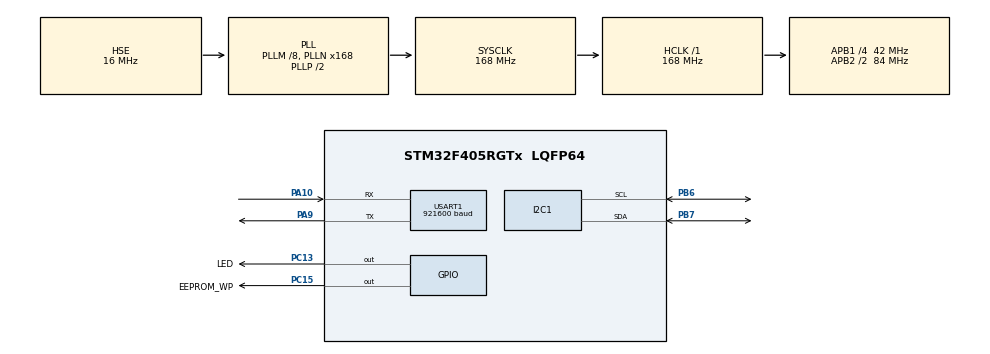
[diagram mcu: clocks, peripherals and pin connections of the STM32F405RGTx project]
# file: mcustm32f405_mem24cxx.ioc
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I2C1.I2C_Mode=I2C_Fast
Mcu.Family=STM32F4
Mcu.Name=STM32F405RGTx
Mcu.Package=LQFP64
NVIC.PriorityGroup=NVIC_PRIORITYGROUP_4
PA10.Mode=Asynchronous
PA10.Signal=USART1_RX
PA13.Mode=Trace_Asynchronous_SW
PA13.Signal=SYS_JTMS-SWDIO
PA14.Mode=Trace_Asynchronous_SW
PA14.Signal=SYS_JTCK-SWCLK
PA9.Mode=Asynchronous
PA9.Signal=USART1_TX
PB3.Mode=Trace_Asynchronous_SW
PB3.Signal=SYS_JTDO-SWO
PB6.Mode=I2C
PB6.Signal=I2C1_SCL
PB7.Mode=I2C
PB7.Signal=I2C1_SDA
PC13-ANTI_TAMP.GPIO_Label=LED
PC13-ANTI_TAMP.GPIO_ModeDefaultOutputPP=GPIO_MODE_OUTPUT_OD
PC13-ANTI_TAMP.GPIO_PuPd=GPIO_NOPULL
PC13-ANTI_TAMP.PinState=GPIO_PIN_SET
PC13-ANTI_TAMP.Signal=GPIO_Output
PC15-OSC32_OUT.GPIO_Label=EEPROM_WP
PC15-OSC32_OUT.PinState=GPIO_PIN_SET
PC15-OSC32_OUT.Signal=GPIO_Output
PH0-OSC_IN.Mode=HSE-External-Oscillator
PH0-OSC_IN.Signal=RCC_OSC_IN
PH1-OSC_OUT.Mode=HSE-External-Oscillator
PH1-OSC_OUT.Signal=RCC_OSC_OUT
ProjectManager.HeapSize=0x200
ProjectManager.StackSize=0x400
ProjectManager.TargetToolchain=STM32CubeIDE
RCC.48MHZClocksFreq_Value=84000000
RCC.AHBFreq_Value=168000000
RCC.APB1CLKDivider=RCC_HCLK_DIV4
RCC.APB1Freq_Value=42000000
RCC.APB1TimFreq_Value=84000000
RCC.APB2CLKDivider=RCC_HCLK_DIV2
RCC.APB2Freq_Value=84000000
RCC.APB2TimFreq_Value=168000000
RCC.CortexFreq_Value=168000000
RCC.HCLKFreq_Value=168000000
RCC.HSE_VALUE=16000000
RCC.HSI_VALUE=16000000
RCC.LSE_VALUE=32768
RCC.PLLM=8
RCC.PLLN=168
RCC.PLLSourceVirtual=RCC_PLLSOURCE_HSE
RCC.SYSCLKFreq_VALUE=168000000
RCC.SYSCLKSource=RCC_SYSCLKSOURCE_PLLCLK
RCC.VCOOutputFreq_Value=336000000
USART1.BaudRate=921600
USART1.VirtualMode=VM_ASYNC
VP_CRC_VS_CRC.Mode=CRC_Activate
board=custom

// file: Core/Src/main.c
/* USER CODE BEGIN Header */
/**
 ******************************************************************************
 * @file           : main.c
 * @brief          : Main program body
 ******************************************************************************
 * @attention
 *
 * Copyright (c) 2024 Lars Boegild Thomsen <lth@stm32world.com>
 * All rights reserved.
 *
 * This software is licensed under terms that can be found in the LICENSE file
 * in the root directory of this software component.
 * If no LICENSE file comes with this software, it is provided AS-IS.
 *
 ******************************************************************************
 */
/* USER CODE END Header */
#include "main.h"

/* USER CODE BEGIN Includes */
#include <string.h>
#include <m24cxx.h>
/* USER CODE END Includes */

CRC_HandleTypeDef hcrc;

I2C_HandleTypeDef hi2c1;

UART_HandleTypeDef huart1;

/* USER CODE BEGIN PV */

M24CXX_HandleTypeDef m24cxx;

uint8_t buf[256];
uint8_t do_action = 0;

/* USER CODE END PV */

void SystemClock_Config(void);
static void MX_GPIO_Init(void);
static void MX_I2C1_Init(void);
static void MX_USART1_UART_Init(void);
static void MX_CRC_Init(void);

/* USER CODE BEGIN 0 */

// Send printf to uart1
int _write(int fd, char *ptr, int len) {
    HAL_StatusTypeDef hstatus;

    if (fd == 1 || fd == 2) {
        hstatus = HAL_UART_Transmit(&huart1, (uint8_t*) ptr, len,
        HAL_MAX_DELAY);
        if (hstatus == HAL_OK)
            return len;
        else
            return -1;
    }
    return -1;
}

/* USER CODE END 0 */

int main(void)
{

  /* MCU Configuration--------------------------------------------------------*/

  /* Reset of all peripherals, Initializes the Flash interface and the Systick. */
  HAL_Init();

  /* Configure the system clock */
  SystemClock_Config();

  /* Initialize all configured peripherals */
  MX_GPIO_Init();
  MX_I2C1_Init();
  MX_USART1_UART_Init();
  MX_CRC_Init();
  /* USER CODE BEGIN 2 */

    DBG("\n\n\n--------\nStarting");

    // Wait a few ms to get ready
    HAL_Delay(10);

    DBG("Scanning I2C bus:");
    // Go through all possible i2c addresses
    for (uint8_t i = 0; i < 128; i++) {

        if (HAL_I2C_IsDeviceReady(&hi2c1, (uint16_t) (i << 1), 3, 100) == HAL_OK) {
            // We got an ack
            printf("%2x ", i);
        } else {
            printf("-- ");
        }

        if (i > 0 && (i + 1) % 16 == 0)
            printf("\n");

    }

    printf("\n");

    DBG("Initializing %s - %u kB EEPROM", M24CXX_TYPE, M24CXX_SIZE / 1024);

    if (m24cxx_init(&m24cxx, &hi2c1, 0x50) != M24CXX_Ok) {
        DBG("M24CXX Failed to initialize");
        Error_Handler();
    }

    uint8_t buf[M24CXX_WRITE_PAGE_SIZE];
    uint32_t crc = 0;
    uint32_t start_time;

    DBG("Erasing all");
    start_time = HAL_GetTick();
    if (m24cxx_erase_all(&m24cxx) != M24CXX_Ok) {
        DBG("Erase all failed");
        Error_Handler();
    }
    DBG("Erase all took - %lu s", (HAL_GetTick() - start_time) / 1000);

    start_time = HAL_GetTick();
    for (int i = 0; i < M24CXX_SIZE / sizeof(buf); ++i) {
        if (m24cxx_read(&m24cxx, i * sizeof(buf), (uint8_t*) &buf, sizeof(buf)) != M24CXX_Ok) {
            DBG("Read Error");
            Error_Handler();
        }
        if (i == 0)
            crc = HAL_CRC_Calculate(&hcrc, (uint32_t*) &buf, sizeof(buf) / 4);
        else
            crc = HAL_CRC_Accumulate(&hcrc, (uint32_t*) &buf, sizeof(buf) / 4);
    }
    DBG("Read all took - %lu s - CRC = 0x%08lx", (HAL_GetTick() - start_time) / 1000, crc);

    memset(buf, 0x00, sizeof(buf));
    DBG("Writing all 0x00");
    start_time = HAL_GetTick();
    for (int i = 0; i < M24CXX_SIZE / sizeof(buf); ++i) {
        if (m24cxx_write(&m24cxx, i * sizeof(buf), (uint8_t*) &buf, sizeof(buf)) != M24CXX_Ok) {
            DBG("Write Error");
            Error_Handler();
        }
        if (i == 0)
            crc = HAL_CRC_Calculate(&hcrc, (uint32_t*) &buf, sizeof(buf) / 4);
        else
            crc = HAL_CRC_Accumulate(&hcrc, (uint32_t*) &buf, sizeof(buf) / 4);
    }
    DBG("Write all took - %lu s - CRC = 0x%08lx", (HAL_GetTick() - start_time) / 1000, crc);

    start_time = HAL_GetTick();
    for (int i = 0; i < M24CXX_SIZE / sizeof(buf); ++i) {
        if (m24cxx_read(&m24cxx, i * sizeof(buf), (uint8_t*) &buf, sizeof(buf)) != M24CXX_Ok) {
            DBG("Read Error");
            Error_Handler();
        }
        if (i == 0)
            crc = HAL_CRC_Calculate(&hcrc, (uint32_t*) &buf, sizeof(buf) / 4);
        else
            crc = HAL_CRC_Accumulate(&hcrc, (uint32_t*) &buf, sizeof(buf) / 4);
    }
    DBG("Read all took - %lu s - CRC = 0x%08lx", (HAL_GetTick() - start_time) / 1000, crc);

    memset(buf, 0x55, sizeof(buf));
    DBG("Writing all 0x55");
    start_time = HAL_GetTick();
    for (int i = 0; i < M24CXX_SIZE / sizeof(buf); ++i) {
        if (m24cxx_write(&m24cxx, i * sizeof(buf), (uint8_t*) &buf, sizeof(buf)) != M24CXX_Ok) {
            DBG("Write Error");
            Error_Handler();
        }
        if (i == 0)
            crc = HAL_CRC_Calculate(&hcrc, (uint32_t*) &buf, sizeof(buf) / 4);
        else
            crc = HAL_CRC_Accumulate(&hcrc, (uint32_t*) &buf, sizeof(buf) / 4);
    }
    DBG("Write all took - %lu s - CRC = 0x%08lx", (HAL_GetTick() - start_time) / 1000, crc);

    start_time = HAL_GetTick();
    for (int i = 0; i < M24CXX_SIZE / sizeof(buf); ++i) {
        if (m24cxx_read(&m24cxx, i * sizeof(buf), (uint8_t*) &buf, sizeof(buf)) != M24CXX_Ok) {
            DBG("Read Error");
            Error_Handler();
        }
        if (i == 0)
            crc = HAL_CRC_Calculate(&hcrc, (uint32_t*) &buf, sizeof(buf) / 4);
        else
            crc = HAL_CRC_Accumulate(&hcrc, (uint32_t*) &buf, sizeof(buf) / 4);
    }
    DBG("Read all took - %lu s - CRC = 0x%08lx", (HAL_GetTick() - start_time) / 1000, crc);

    memset(buf, 0xaa, sizeof(buf));
    DBG("Writing all 0xaa");
    start_time = HAL_GetTick();
    for (int i = 0; i < M24CXX_SIZE / sizeof(buf); ++i) {
        if (m24cxx_write(&m24cxx, i * sizeof(buf), (uint8_t*) &buf, sizeof(buf)) != M24CXX_Ok) {
            DBG("Write Error");
            Error_Handler();
        }
        if (i == 0)
            crc = HAL_CRC_Calculate(&hcrc, (uint32_t*) &buf, sizeof(buf) / 4);
        else
            crc = HAL_CRC_Accumulate(&hcrc, (uint32_t*) &buf, sizeof(buf) / 4);
    }
    DBG("Write all took - %lu s - CRC = 0x%08lx", (HAL_GetTick() - start_time) / 1000, crc);

    start_time = HAL_GetTick();
    for (int i = 0; i < M24CXX_SIZE / sizeof(buf); ++i) {
        if (m24cxx_read(&m24cxx, i * sizeof(buf), (uint8_t*) &buf, sizeof(buf)) != M24CXX_Ok) {
            DBG("Read Error");
            Error_Handler();
        }
        if (i == 0)
            crc = HAL_CRC_Calculate(&hcrc, (uint32_t*) &buf, sizeof(buf) / 4);
        else
            crc = HAL_CRC_Accumulate(&hcrc, (uint32_t*) &buf, sizeof(buf) / 4);
    }
    DBG("Read all took - %lu s - CRC = 0x%08lx", (HAL_GetTick() - start_time) / 1000, crc);

    DBG("Done Testing - entering main loop");

  /* USER CODE END 2 */

  /* Infinite loop */
  /* USER CODE BEGIN WHILE */

    uint32_t now = 0, last_blink = 0;

    while (1) {

        now = HAL_GetTick();

        if (now - last_blink >= 500) {

            HAL_GPIO_TogglePin(LED_GPIO_Port, LED_Pin);

            last_blink = now;

        }

    /* USER CODE END WHILE */

    }
}

void SystemClock_Config(void)
{
  RCC_OscInitTypeDef RCC_OscInitStruct = {0};
  RCC_ClkInitTypeDef RCC_ClkInitStruct = {0};

  /** Configure the main internal regulator output voltage
  */
  __HAL_RCC_PWR_CLK_ENABLE();
  __HAL_PWR_VOLTAGESCALING_CONFIG(PWR_REGULATOR_VOLTAGE_SCALE1);

  /** Initializes the RCC Oscillators according to the specified parameters
  * in the RCC_OscInitTypeDef structure.
  */
  RCC_OscInitStruct.OscillatorType = RCC_OSCILLATORTYPE_HSE;
  RCC_OscInitStruct.HSEState = RCC_HSE_ON;
  RCC_OscInitStruct.PLL.PLLState = RCC_PLL_ON;
  RCC_OscInitStruct.PLL.PLLSource = RCC_PLLSOURCE_HSE;
  RCC_OscInitStruct.PLL.PLLM = 8;
  RCC_OscInitStruct.PLL.PLLN = 168;
  RCC_OscInitStruct.PLL.PLLP = RCC_PLLP_DIV2;
  RCC_OscInitStruct.PLL.PLLQ = 4;
  if (HAL_RCC_OscConfig(&RCC_OscInitStruct) != HAL_OK)
  {
    Error_Handler();
  }

  /** Initializes the CPU, AHB and APB buses clocks
  */
  RCC_ClkInitStruct.ClockType = RCC_CLOCKTYPE_HCLK|RCC_CLOCKTYPE_SYSCLK
                              |RCC_CLOCKTYPE_PCLK1|RCC_CLOCKTYPE_PCLK2;
  RCC_ClkInitStruct.SYSCLKSource = RCC_SYSCLKSOURCE_PLLCLK;
  RCC_ClkInitStruct.AHBCLKDivider = RCC_SYSCLK_DIV1;
  RCC_ClkInitStruct.APB1CLKDivider = RCC_HCLK_DIV4;
  RCC_ClkInitStruct.APB2CLKDivider = RCC_HCLK_DIV2;

  if (HAL_RCC_ClockConfig(&RCC_ClkInitStruct, FLASH_LATENCY_5) != HAL_OK)
  {
    Error_Handler();
  }
}

static void MX_CRC_Init(void)
{

  hcrc.Instance = CRC;
  if (HAL_CRC_Init(&hcrc) != HAL_OK)
  {
    Error_Handler();
  }

}

static void MX_I2C1_Init(void)
{

  hi2c1.Instance = I2C1;
  hi2c1.Init.ClockSpeed = 400000;
  hi2c1.Init.DutyCycle = I2C_DUTYCYCLE_2;
  hi2c1.Init.OwnAddress1 = 0;
  hi2c1.Init.AddressingMode = I2C_ADDRESSINGMODE_7BIT;
  hi2c1.Init.DualAddressMode = I2C_DUALADDRESS_DISABLE;
  hi2c1.Init.OwnAddress2 = 0;
  hi2c1.Init.GeneralCallMode = I2C_GENERALCALL_DISABLE;
  hi2c1.Init.NoStretchMode = I2C_NOSTRETCH_DISABLE;
  if (HAL_I2C_Init(&hi2c1) != HAL_OK)
  {
    Error_Handler();
  }

}

static void MX_USART1_UART_Init(void)
{

  huart1.Instance = USART1;
  huart1.Init.BaudRate = 921600;
  huart1.Init.WordLength = UART_WORDLENGTH_8B;
  huart1.Init.StopBits = UART_STOPBITS_1;
  huart1.Init.Parity = UART_PARITY_NONE;
  huart1.Init.Mode = UART_MODE_TX_RX;
  huart1.Init.HwFlowCtl = UART_HWCONTROL_NONE;
  huart1.Init.OverSampling = UART_OVERSAMPLING_16;
  if (HAL_UART_Init(&huart1) != HAL_OK)
  {
    Error_Handler();
  }

}

static void MX_GPIO_Init(void)
{
  GPIO_InitTypeDef GPIO_InitStruct = {0};

  /* GPIO Ports Clock Enable */
  __HAL_RCC_GPIOC_CLK_ENABLE();
  __HAL_RCC_GPIOH_CLK_ENABLE();
  __HAL_RCC_GPIOA_CLK_ENABLE();
  __HAL_RCC_GPIOB_CLK_ENABLE();

  /*Configure GPIO pin Output Level */
  HAL_GPIO_WritePin(GPIOC, LED_Pin|EEPROM_WP_Pin, GPIO_PIN_SET);

  /*Configure GPIO pin : LED_Pin */
  GPIO_InitStruct.Pin = LED_Pin;
  GPIO_InitStruct.Mode = GPIO_MODE_OUTPUT_OD;
  GPIO_InitStruct.Pull = GPIO_NOPULL;
  GPIO_InitStruct.Speed = GPIO_SPEED_FREQ_LOW;
  HAL_GPIO_Init(LED_GPIO_Port, &GPIO_InitStruct);

  /*Configure GPIO pin : EEPROM_WP_Pin */
  GPIO_InitStruct.Pin = EEPROM_WP_Pin;
  GPIO_InitStruct.Mode = GPIO_MODE_OUTPUT_PP;
  GPIO_InitStruct.Pull = GPIO_NOPULL;
  GPIO_InitStruct.Speed = GPIO_SPEED_FREQ_LOW;
  HAL_GPIO_Init(EEPROM_WP_GPIO_Port, &GPIO_InitStruct);

}

void Error_Handler(void)
{
    __disable_irq();
    while (1) {
    }
}
